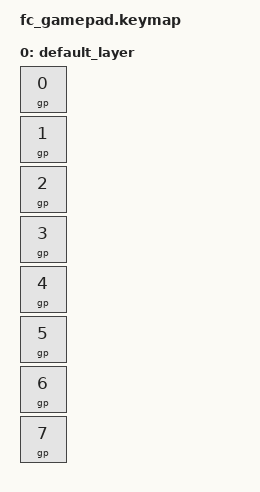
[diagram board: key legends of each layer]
#include <dt-bindings/zmk/hid_usage.h>
#include <dt-bindings/zmk/keys.h>
#include <dt-bindings/zmk/gamepad.h>

/ {
    keymap {
        compatible = "zmk,keymap";
        default_layer {
            bindings = <
                &gp 0  // A
                &gp 1  // B
                &gp 2  // Select
                &gp 3  // Start
                &gp 4  // Up
                &gp 5  // Down
                &gp 6  // Left
                &gp 7  // Right
            >;
        };
    };
};
